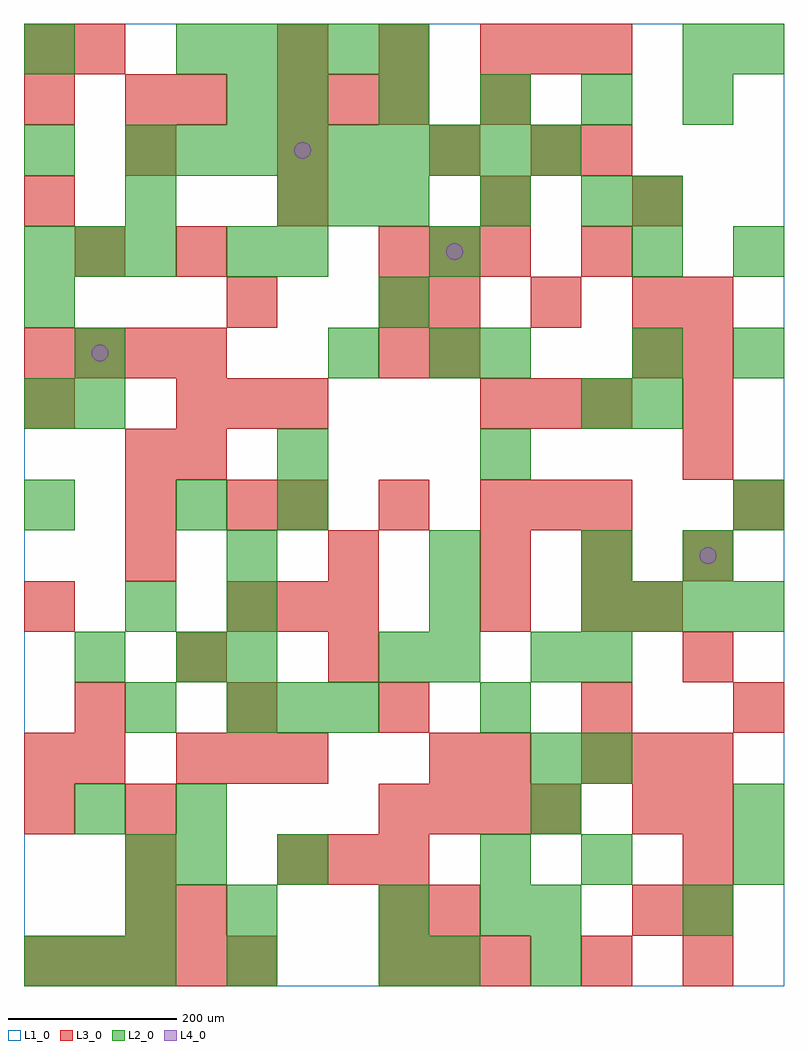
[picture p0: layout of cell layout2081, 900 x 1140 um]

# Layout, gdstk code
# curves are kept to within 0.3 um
import gdstk
lib = gdstk.Library(unit=1e-6, precision=1e-09)
def R(c, l, rs):  # rectangles x0, y0, x1, y1
    for r in rs: c.add(gdstk.rectangle(r[:2], r[2:], *l))
def A(c, l, x, y, w, h, nx, ny, dx, dy):  # array of equal rectangles
    R(c, l, [(x+i*dx, y+j*dy, x+i*dx+w, y+j*dy+h) for i in range(nx) for j in range(ny)])
def P(c, l, *ps):  # polygons
    for p in ps: c.add(gdstk.Polygon(p, *l))
L1_0 = (1, 0)
L2_0 = (2, 0)
L3_0 = (3, 0)
L4_0 = (4, 0)

layout2081 = lib.new_cell('layout2081')
R(layout2081, L1_0, [(0,0,900,1140)])
A(layout2081, L2_0, 0, 0, 60, 60, 3, 2, 60, 840)
A(layout2081, L2_0, 660, 120, 60, 60, 1, 4, 0, 120)
A(layout2081, L2_0, 180, 180, 60, 60, 1, 3, 0, 180)
A(layout2081, L2_0, 240, 300, 60, 60, 3, 1, 60, 0)
A(layout2081, L2_0, 240, 360, 60, 60, 1, 3, 0, 60)
A(layout2081, L2_0, 480, 360, 60, 60, 1, 3, 0, 60)
A(layout2081, L2_0, 660, 420, 60, 60, 4, 1, 60, 0)
A(layout2081, L2_0, 0, 540, 60, 60, 1, 3, 0, 120)
A(layout2081, L2_0, 300, 900, 60, 60, 3, 1, 60, 0)
A(layout2081, L2_0, 120, 960, 60, 60, 9, 1, 60, 0)
A(layout2081, L2_0, 300, 1020, 60, 60, 5, 1, 120, 0)
A(layout2081, L2_0, 180, 1080, 60, 60, 5, 1, 60, 0)
R(layout2081, L2_0, [(240,0,300,60), (420,0,480,60), (480,0,540,60), (600,0,660,60), (120,60,180,120), (240,60,300,120), (420,60,480,120), (540,60,600,120), (600,60,660,120), (780,60,840,120), (120,120,180,180), (180,120,240,180), (300,120,360,180), (540,120,600,180), (840,120,900,180), (60,180,120,240), (600,180,660,240), (840,180,900,240), (600,240,660,300), (120,300,180,360), (540,300,600,360), (60,360,120,420), (420,360,480,420), (600,360,660,420), (120,420,180,480), (780,480,840,540), (300,540,360,600), (840,540,900,600), (300,600,360,660), (540,600,600,660), (60,660,120,720), (660,660,720,720), (720,660,780,720), (60,720,120,780), (360,720,420,780), (480,720,540,780), (540,720,600,780), (720,720,780,780), (840,720,900,780), (420,780,480,840), (240,840,300,900), (300,840,360,900), (480,840,540,900), (720,840,780,900), (840,840,900,900), (120,900,180,960), (540,900,600,960), (660,900,720,960), (720,900,780,960), (0,960,60,1020), (240,1020,300,1080), (0,1080,60,1140), (780,1080,840,1140), (840,1080,900,1140)])
A(layout2081, L3_0, 0, 0, 60, 60, 5, 1, 60, 0)
A(layout2081, L3_0, 420, 0, 60, 60, 3, 2, 60, 840)
A(layout2081, L3_0, 780, 0, 60, 60, 1, 4, 0, 60)
A(layout2081, L3_0, 120, 60, 60, 60, 1, 3, 0, 60)
A(layout2081, L3_0, 300, 120, 60, 60, 3, 2, 60, 900)
A(layout2081, L3_0, 420, 180, 60, 60, 4, 1, 60, 0)
A(layout2081, L3_0, 180, 240, 60, 60, 3, 2, 60, 420)
A(layout2081, L3_0, 660, 240, 60, 60, 3, 1, 60, 0)
A(layout2081, L3_0, 60, 300, 60, 60, 3, 1, 180, 0)
A(layout2081, L3_0, 660, 300, 60, 60, 1, 3, 0, 120)
A(layout2081, L3_0, 180, 360, 60, 60, 1, 3, 0, 240)
A(layout2081, L3_0, 0, 420, 60, 60, 1, 3, 0, 240)
A(layout2081, L3_0, 240, 420, 60, 60, 3, 1, 60, 0)
A(layout2081, L3_0, 120, 480, 60, 60, 1, 3, 0, 60)
A(layout2081, L3_0, 540, 480, 60, 60, 3, 1, 120, 0)
A(layout2081, L3_0, 300, 540, 60, 60, 3, 2, 120, 540)
A(layout2081, L3_0, 780, 600, 60, 60, 1, 4, 0, 60)
A(layout2081, L3_0, 540, 660, 60, 60, 3, 1, 60, 0)
A(layout2081, L3_0, 0, 720, 60, 60, 4, 1, 60, 0)
A(layout2081, L3_0, 480, 780, 60, 60, 3, 1, 120, 0)
A(layout2081, L3_0, 660, 840, 60, 60, 1, 3, 0, 120)
A(layout2081, L3_0, 120, 960, 60, 60, 3, 1, 180, 0)
R(layout2081, L3_0, [(660,0,720,60), (180,60,240,120), (420,60,480,120), (480,60,540,120), (720,60,780,120), (0,180,60,240), (720,180,780,240), (0,240,60,300), (60,240,120,300), (480,240,540,300), (540,240,600,300), (840,300,900,360), (360,360,420,420), (780,360,840,420), (540,420,600,480), (720,420,780,480), (360,480,420,540), (240,540,300,600), (600,540,660,600), (840,540,900,600), (420,720,480,780), (480,720,540,780), (720,720,780,780), (240,780,300,840), (420,780,480,840), (60,840,120,900), (300,900,360,960), (540,900,600,960), (720,900,780,960), (600,960,660,1020), (0,1020,60,1080), (120,1020,180,1080), (180,1020,240,1080), (540,1020,600,1080), (0,1080,60,1140), (60,1080,120,1140), (600,1080,660,1140)])
P(layout2081, L4_0, [(100,750),(99.239,753.827),(97.071,757.071),(93.827,759.239),(90,760),(86.173,759.239),(82.929,757.071),(80.761,753.827),(80,750),(80.761,746.173),(82.929,742.929),(86.173,740.761),(90,740),(93.827,740.761),(97.071,742.929),(99.239,746.173)],
  [(340,990),(339.239,993.827),(337.071,997.071),(333.827,999.239),(330,1000),(326.173,999.239),(322.929,997.071),(320.761,993.827),(320,990),(320.761,986.173),(322.929,982.929),(326.173,980.761),(330,980),(333.827,980.761),(337.071,982.929),(339.239,986.173)],
  [(520,870),(519.239,873.827),(517.071,877.071),(513.827,879.239),(510,880),(506.173,879.239),(502.929,877.071),(500.761,873.827),(500,870),(500.761,866.173),(502.929,862.929),(506.173,860.761),(510,860),(513.827,860.761),(517.071,862.929),(519.239,866.173)],
  [(820,510),(819.239,513.827),(817.071,517.071),(813.827,519.239),(810,520),(806.173,519.239),(802.929,517.071),(800.761,513.827),(800,510),(800.761,506.173),(802.929,502.929),(806.173,500.761),(810,500),(813.827,500.761),(817.071,502.929),(819.239,506.173)])

lib.write_gds('layout2081.gds')
